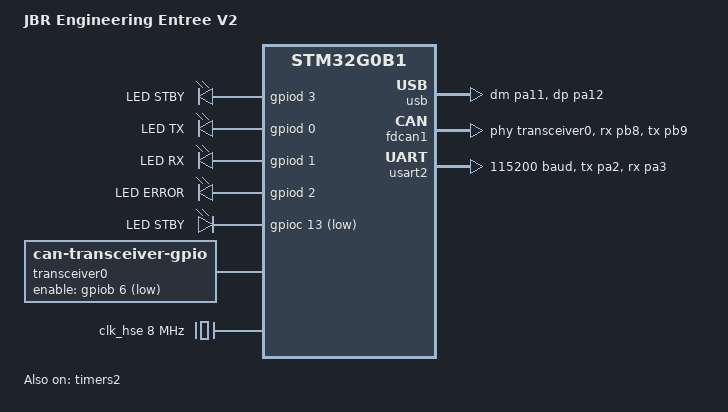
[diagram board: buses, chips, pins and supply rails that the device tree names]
/*
 * Copyright (c) 2026 John Whittington <git@jbrengineering.co.uk>
 *
 * SPDX-License-Identifier: Apache-2.0
 */

/dts-v1/;

#include <st/g0/stm32g0b1Xe.dtsi>
#include <st/g0/stm32g0b1r(b-c-e)tx-pinctrl.dtsi>

/ {
	model = "JBR Engineering Entree V2";
	compatible = "jbr-engineering,entree", "st,stm32g0b1";

	chosen {
		zephyr,console = &usart2;
		zephyr,shell-uart = &usart2;
		zephyr,uart-mcumgr = &usart2;
		zephyr,sram = &sram0;
		zephyr,flash = &flash0;
		zephyr,code-partition = &slot0_partition;
		zephyr,canbus = &fdcan1;
	};

	aliases {
		led0 = &led_rx;
		led1 = &led_tx;
	};

	leds {
		compatible = "gpio-leds";

		standby_led: white_led {
			gpios = <&gpiod 3 GPIO_ACTIVE_HIGH>;
			label = "LED STBY";
		};

		led_tx: orange_led {
			gpios = <&gpiod 0 GPIO_ACTIVE_HIGH>;
			label = "LED TX";
		};

		led_rx: green_led {
			gpios = <&gpiod 1 GPIO_ACTIVE_HIGH>;
			label = "LED RX";
		};

		error_led: red_led {
			gpios = <&gpiod 2 GPIO_ACTIVE_HIGH>;
			label = "LED ERROR";
		};

		vdd_on: vdd_on {
			gpios = <&gpioc 13 GPIO_ACTIVE_LOW>;
			label = "LED STBY";
		};
	};

	transceiver0: can-phy0 {
		compatible = "can-transceiver-gpio";
		enable-gpios = <&gpiob 6 GPIO_ACTIVE_LOW>;
		max-bitrate = <5000000>;
		#phy-cells = <0>;
	};
};

&clk_hse {
	status = "okay";
	clock-frequency = <DT_FREQ_M(8)>;
};

&clk_hsi48 {
	status = "okay";
	crs-usb-sof;
};

&pll {
	div-m = <1>;
	mul-n = <30>;
	div-p = <2>;
	div-q = <3>;
	div-r = <4>;
	clocks = <&clk_hse>;
	status = "okay";
};

&rcc {
	clocks = <&pll>;
	clock-frequency = <DT_FREQ_M(60)>;
	ahb-prescaler = <1>;
	apb1-prescaler = <1>;
};

zephyr_udc0: &usb {
	pinctrl-0 = <&usb_dm_pa11 &usb_dp_pa12>;
	pinctrl-names = "default";
	status = "okay";
};

&fdcan1 {
	clocks = <&rcc STM32_CLOCK(APB1, 12)>,
		 <&rcc STM32_SRC_PLL_Q FDCAN_SEL(1)>;
	pinctrl-0 = <&fdcan1_rx_pb8 &fdcan1_tx_pb9>;
	pinctrl-names = "default";
	phys = <&transceiver0>;
	status = "okay";
};

/* FDCAN2 has no transceiver connected, so is disabled by default.
 * It is labled on schematic with enable-gpio connected to PB2
 */
&fdcan2 {
	clocks = <&rcc STM32_CLOCK(APB1, 12)>,
		 <&rcc STM32_SRC_PLL_Q FDCAN_SEL(1)>;
	pinctrl-0 = <&fdcan2_rx_pb0 &fdcan2_tx_pb1>;
	pinctrl-names = "default";
	status = "disabled";
};

&usart2 {
	pinctrl-0 = <&usart2_tx_pa2 &usart2_rx_pa3>;
	pinctrl-names = "default";
	current-speed = <115200>;
	status = "okay";
};

&timers2 {
	status = "okay";
	st,prescaler = <59>;

	counter2: counter2 {
		compatible = "st,stm32-counter";
		status = "okay";
	};
};

&flash0 {
	partitions {
		compatible = "fixed-partitions";
		#address-cells = <1>;
		#size-cells = <1>;

		boot_partition: partition@0 {
			label = "mcuboot";
			reg = <0x00000000 DT_SIZE_K(48)>;
			read-only;
		};

		slot0_partition: partition@c000 {
			label = "image-0";
			reg = <0x0000c000 DT_SIZE_K(200)>;
		};

		slot1_partition: partition@3e000 {
			label = "image-1";
			reg = <0x0003e000 DT_SIZE_K(200)>;
		};

		/* final 64KiB reserved for app storage partition */
		storage_partition: partition@70000 {
			label = "storage";
			reg = <0x00070000 DT_SIZE_K(64)>;
		};
	};
};
